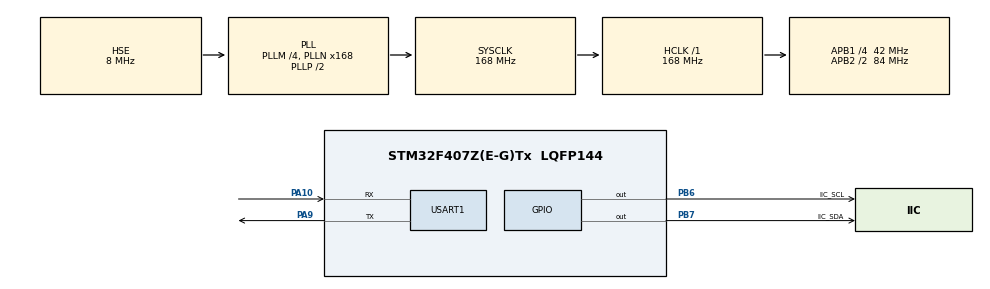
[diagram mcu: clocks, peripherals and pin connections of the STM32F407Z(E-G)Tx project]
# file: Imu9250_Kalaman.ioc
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Mcu.Family=STM32F4
Mcu.Name=STM32F407Z(E-G)Tx
Mcu.Package=LQFP144
NVIC.PriorityGroup=NVIC_PRIORITYGROUP_4
NVIC.TIM6_DAC_IRQn=true\:15\:0\:false\:false\:true\:false\:true\:true
NVIC.TimeBase=TIM6_DAC_IRQn
NVIC.TimeBaseIP=TIM6
NVIC.USART1_IRQn=true\:0\:0\:false\:false\:true\:true\:true\:true
PA10.Mode=Asynchronous
PA10.Signal=USART1_RX
PA13.Mode=Serial_Wire
PA13.Signal=SYS_JTMS-SWDIO
PA14.Mode=Serial_Wire
PA14.Signal=SYS_JTCK-SWCLK
PA9.Mode=Asynchronous
PA9.Signal=USART1_TX
PB6.GPIO_Label=IIC_SCL
PB6.GPIO_PuPd=GPIO_PULLUP
PB6.GPIO_Speed=GPIO_SPEED_FREQ_VERY_HIGH
PB6.PinState=GPIO_PIN_SET
PB6.Signal=GPIO_Output
PB7.GPIO_Label=IIC_SDA
PB7.GPIO_PuPd=GPIO_PULLUP
PB7.GPIO_Speed=GPIO_SPEED_FREQ_VERY_HIGH
PB7.PinState=GPIO_PIN_SET
PB7.Signal=GPIO_Output
PH0-OSC_IN.Mode=HSE-External-Oscillator
PH0-OSC_IN.Signal=RCC_OSC_IN
PH1-OSC_OUT.Mode=HSE-External-Oscillator
PH1-OSC_OUT.Signal=RCC_OSC_OUT
ProjectManager.HeapSize=0x200
ProjectManager.StackSize=0x400
ProjectManager.TargetToolchain=MDK-ARM V5.32
RCC.48MHZClocksFreq_Value=84000000
RCC.AHBFreq_Value=168000000
RCC.APB1CLKDivider=RCC_HCLK_DIV4
RCC.APB1Freq_Value=42000000
RCC.APB1TimFreq_Value=84000000
RCC.APB2CLKDivider=RCC_HCLK_DIV2
RCC.APB2Freq_Value=84000000
RCC.APB2TimFreq_Value=168000000
RCC.CortexFreq_Value=168000000
RCC.HCLKFreq_Value=168000000
RCC.HSE_VALUE=8000000
RCC.HSI_VALUE=16000000
RCC.LSE_VALUE=32768
RCC.PLLM=4
RCC.PLLN=168
RCC.PLLSourceVirtual=RCC_PLLSOURCE_HSE
RCC.SYSCLKFreq_VALUE=168000000
RCC.SYSCLKSource=RCC_SYSCLKSOURCE_PLLCLK
RCC.VCOOutputFreq_Value=336000000
USART1.VirtualMode=VM_ASYNC
VP_SYS_VS_tim6.Mode=TIM6
board=custom

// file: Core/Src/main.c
/* USER CODE BEGIN Header */
/**
  ******************************************************************************
  * @file           : main.c
  * @brief          : Main program body
  ******************************************************************************
  * @attention
  *
  * Copyright (c) 2024 STMicroelectronics.
  * All rights reserved.
  *
  * This software is licensed under terms that can be found in the LICENSE file
  * in the root directory of this software component.
  * If no LICENSE file comes with this software, it is provided AS-IS.
  *
  ******************************************************************************
  */
/* USER CODE END Header */
#include "main.h"
#include "usart.h"
#include "gpio.h"

/* USER CODE BEGIN Includes */

#include "bsp_usart.h"
#include "sys.h"
#include "delay.h"
#include "bsp_mpu9250.h"
#include "bsp_cmd_task.h"
#include "bsp_kalaman.h"
/* USER CODE END Includes */

void SystemClock_Config(void);

/* USER CODE BEGIN 0 */
uint32_t Tick_ekf = 0;
/* USER CODE END 0 */

int main(void)
{
  /* USER CODE BEGIN 1 */
  float pitch,roll,yaw;
	short igx,igy,igz;
	short iax,iay,iaz;
	short imx,imy,imz;
	float gx,gy,gz;
	float ax,ay,az;
	float mx,my,mz;
  /* USER CODE END 1 */

  /* MCU Configuration--------------------------------------------------------*/

  /* Reset of all peripherals, Initializes the Flash interface and the Systick. */
  HAL_Init();

  /* Configure the system clock */
  SystemClock_Config();

  /* USER CODE BEGIN SysInit */
	delay_init(168);		//初始化延时函数
  /* USER CODE END SysInit */

  /* Initialize all configured peripherals */
  MX_GPIO_Init();
  MX_USART1_UART_Init();
  /* USER CODE BEGIN 2 */
	if (MPU_Init_Call()) {
    printf("MPU9250 init fail\r\n");
  }
	printf("IMU9250\r\n");
  CalibrateToZero();
  /* USER CODE END 2 */

  /* Infinite loop */
  while (1)
  {

    /* USER CODE BEGIN 3 */
    MPU_Get_Gyro(&igx,&igy,&igz,&gx,&gy,&gz);
    MPU_Get_Accel(&iax,&iay,&iaz,&ax,&ay,&az);
    MPU_Get_Mag(&imx,&imy,&imz,&mx,&my,&mz);
    AHRSupdate(gx,gy,gz,ax,ay,az,mx,my,mz,&roll,&pitch,&yaw);
    //AHRS_EKF_AHRSupdate(gx,gy,gz,ax,ay,az,mx,my,mz,&roll,&pitch,&yaw);
    pitch += pitchoffset;
    roll += rolloffset;
    yaw += yawoffset;

    printf("%0.1f %0.1f %0.1f\r\n",pitch,roll,yaw);
//    printf("%0.1f %0.1f %0.1f\r\n",gx,ax,mx);
    HAL_Delay(10);
		// delay_us(5270);
  }
  /* USER CODE END 3 */
}

void SystemClock_Config(void)
{
  RCC_OscInitTypeDef RCC_OscInitStruct = {0};
  RCC_ClkInitTypeDef RCC_ClkInitStruct = {0};

  /** Configure the main internal regulator output voltage
  */
  __HAL_RCC_PWR_CLK_ENABLE();
  __HAL_PWR_VOLTAGESCALING_CONFIG(PWR_REGULATOR_VOLTAGE_SCALE1);

  /** Initializes the RCC Oscillators according to the specified parameters
  * in the RCC_OscInitTypeDef structure.
  */
  RCC_OscInitStruct.OscillatorType = RCC_OSCILLATORTYPE_HSE;
  RCC_OscInitStruct.HSEState = RCC_HSE_ON;
  RCC_OscInitStruct.PLL.PLLState = RCC_PLL_ON;
  RCC_OscInitStruct.PLL.PLLSource = RCC_PLLSOURCE_HSE;
  RCC_OscInitStruct.PLL.PLLM = 4;
  RCC_OscInitStruct.PLL.PLLN = 168;
  RCC_OscInitStruct.PLL.PLLP = RCC_PLLP_DIV2;
  RCC_OscInitStruct.PLL.PLLQ = 4;
  if (HAL_RCC_OscConfig(&RCC_OscInitStruct) != HAL_OK)
  {
    Error_Handler();
  }

  /** Initializes the CPU, AHB and APB buses clocks
  */
  RCC_ClkInitStruct.ClockType = RCC_CLOCKTYPE_HCLK|RCC_CLOCKTYPE_SYSCLK
                              |RCC_CLOCKTYPE_PCLK1|RCC_CLOCKTYPE_PCLK2;
  RCC_ClkInitStruct.SYSCLKSource = RCC_SYSCLKSOURCE_PLLCLK;
  RCC_ClkInitStruct.AHBCLKDivider = RCC_SYSCLK_DIV1;
  RCC_ClkInitStruct.APB1CLKDivider = RCC_HCLK_DIV4;
  RCC_ClkInitStruct.APB2CLKDivider = RCC_HCLK_DIV2;

  if (HAL_RCC_ClockConfig(&RCC_ClkInitStruct, FLASH_LATENCY_5) != HAL_OK)
  {
    Error_Handler();
  }
}

void HAL_TIM_PeriodElapsedCallback(TIM_HandleTypeDef *htim)
{
  if (htim->Instance == TIM6) {
    HAL_IncTick();
  }
  /* USER CODE BEGIN Callback 1 */
  if (htim->Instance == TIM6)
    Tick_ekf+= uwTickFreq;
  /* USER CODE END Callback 1 */
}

void Error_Handler(void)
{
  __disable_irq();
  while (1)
  {
  }
}
